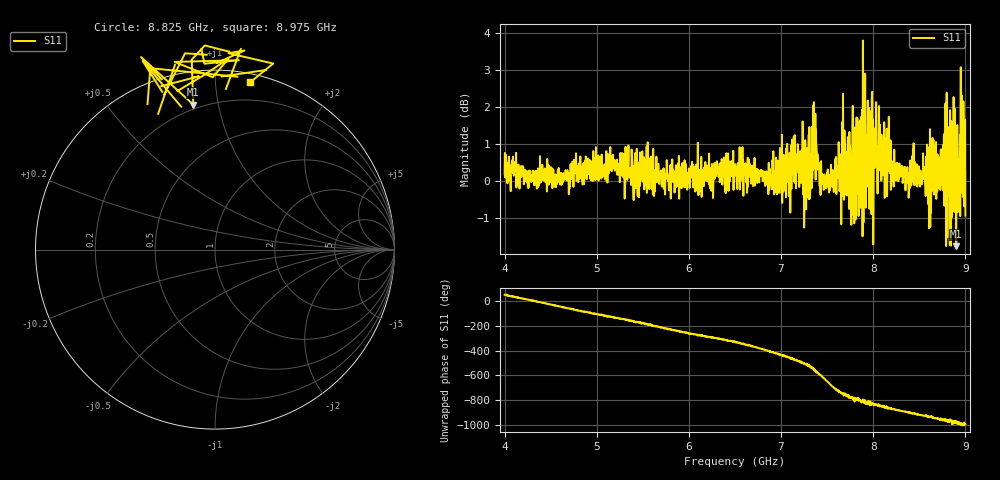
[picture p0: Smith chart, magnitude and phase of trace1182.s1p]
! Created with skrf 1.8.0 (http://scikit-rf.org).
# Hz S RI R 50.0
!freq ReS11 ImS11
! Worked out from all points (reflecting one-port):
!   1601 points, 4 GHz to 9 GHz, reference 50 ohm
!   lowest |S11| = -1.8 dB at 8.9 GHz (marker M1), VSWR 9.94, Z = 8.69 + j42.3 ohm
!   phase of S11 starts at 52 deg and turns -1049 deg over the sweep
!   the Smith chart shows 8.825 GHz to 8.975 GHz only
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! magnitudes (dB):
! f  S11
! 4 GHz  0.2
! 4.625 GHz  -0.1
! 5.166 GHz  0.4
! 5.25 GHz  0.0
! 5.875 GHz  0.2
! 6.5 GHz  0.2
! 7.038 GHz  0.2
! 7.125 GHz  0.9
! 7.297 GHz  -0.5
! 7.372 GHz  1.8
! 7.441 GHz  0.2
! 7.75 GHz  0.9
! 7.784 GHz  0.2
! 7.822 GHz  0.8
! 7.859 GHz  1.7
! 7.928 GHz  0.5
! 7.956 GHz  -0.6
! 7.962 GHz  1.9
! 7.981 GHz  -0.9
! 8.009 GHz  1.4
! 8.022 GHz  0.6
! 8.097 GHz  0.5
! 8.216 GHz  0.4
! 8.375 GHz  0.1
! 8.612 GHz  0.1
! 8.9 GHz  -1.8
! 8.972 GHz  0.7
! 9 GHz  -0.9
